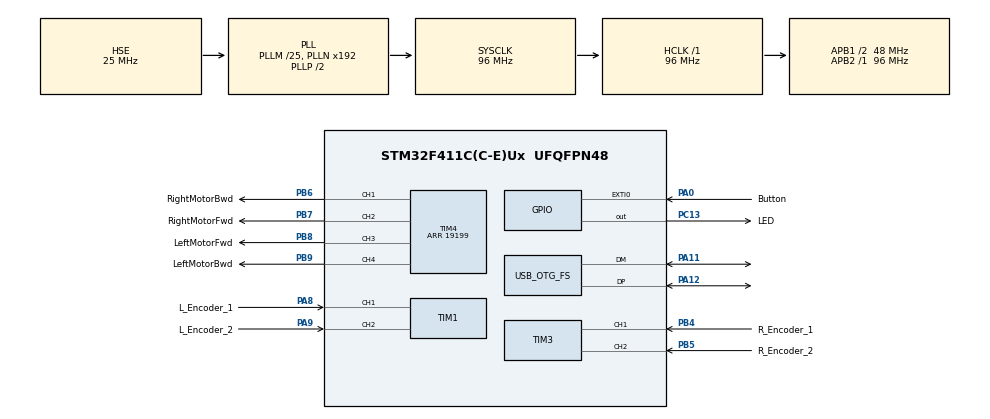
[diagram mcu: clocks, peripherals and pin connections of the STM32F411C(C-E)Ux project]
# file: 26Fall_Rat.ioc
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Mcu.Family=STM32F4
Mcu.Name=STM32F411C(C-E)Ux
Mcu.Package=UFQFPN48
NVIC.EXTI0_IRQn=true\:0\:0\:false\:false\:true\:true\:true\:true
NVIC.OTG_FS_IRQn=true\:0\:0\:false\:false\:true\:false\:true\:true
NVIC.PriorityGroup=NVIC_PRIORITYGROUP_4
NVIC.TIM4_IRQn=true\:0\:0\:false\:false\:true\:true\:true\:true
PA0-WKUP.GPIO_Label=Button
PA0-WKUP.GPIO_ModeDefaultEXTI=GPIO_MODE_IT_RISING_FALLING
PA0-WKUP.GPIO_PuPd=GPIO_PULLUP
PA0-WKUP.Signal=GPXTI0
PA11.Mode=Device_Only
PA11.Signal=USB_OTG_FS_DM
PA12.Mode=Device_Only
PA12.Signal=USB_OTG_FS_DP
PA8.GPIO_Label=L_Encoder_1
PA8.Signal=S_TIM1_CH1
PA9.GPIO_Label=L_Encoder_2
PA9.Signal=S_TIM1_CH2
PB4.GPIO_Label=R_Encoder_1
PB4.Signal=S_TIM3_CH1
PB5.GPIO_Label=R_Encoder_2
PB5.Signal=S_TIM3_CH2
PB6.GPIO_Label=RightMotorBwd
PB6.Signal=S_TIM4_CH1
PB7.GPIO_Label=RightMotorFwd
PB7.Signal=S_TIM4_CH2
PB8.GPIO_Label=LeftMotorFwd
PB8.Signal=S_TIM4_CH3
PB9.GPIO_Label=LeftMotorBwd
PB9.Signal=S_TIM4_CH4
PC13-ANTI_TAMP.GPIO_Label=LED
PC13-ANTI_TAMP.PinState=GPIO_PIN_SET
PC13-ANTI_TAMP.Signal=GPIO_Output
PH0\ -\ OSC_IN.Mode=HSE-External-Oscillator
PH0\ -\ OSC_IN.Signal=RCC_OSC_IN
PH1\ -\ OSC_OUT.Mode=HSE-External-Oscillator
PH1\ -\ OSC_OUT.Signal=RCC_OSC_OUT
ProjectManager.HeapSize=0x200
ProjectManager.StackSize=0x1000
ProjectManager.TargetToolchain=CMake
RCC.48MHZClocksFreq_Value=48000000
RCC.AHBFreq_Value=96000000
RCC.APB1CLKDivider=RCC_HCLK_DIV2
RCC.APB1Freq_Value=48000000
RCC.APB1TimFreq_Value=96000000
RCC.APB2Freq_Value=96000000
RCC.APB2TimFreq_Value=96000000
RCC.CortexFreq_Value=96000000
RCC.HCLKFreq_Value=96000000
RCC.HSE_VALUE=25000000
RCC.HSI_VALUE=16000000
RCC.LSE_VALUE=32768
RCC.PLLM=25
RCC.SYSCLKFreq_VALUE=96000000
RCC.SYSCLKSource=RCC_SYSCLKSOURCE_PLLCLK
RCC.VCOOutputFreq_Value=192000000
SH.S_TIM1_CH1.0=TIM1_CH1,Encoder_Interface
SH.S_TIM1_CH2.0=TIM1_CH2,Encoder_Interface
SH.S_TIM3_CH1.0=TIM3_CH1,Encoder_Interface
SH.S_TIM3_CH2.0=TIM3_CH2,Encoder_Interface
SH.S_TIM4_CH1.0=TIM4_CH1,PWM Generation1 CH1
SH.S_TIM4_CH2.0=TIM4_CH2,PWM Generation2 CH2
SH.S_TIM4_CH3.0=TIM4_CH3,PWM Generation3 CH3
SH.S_TIM4_CH4.0=TIM4_CH4,PWM Generation4 CH4
TIM1.EncoderMode=TIM_ENCODERMODE_TI12
TIM3.EncoderMode=TIM_ENCODERMODE_TI12
TIM4.Channel-PWM\ Generation1\ CH1=TIM_CHANNEL_1
TIM4.Channel-PWM\ Generation2\ CH2=TIM_CHANNEL_2
TIM4.Channel-PWM\ Generation3\ CH3=TIM_CHANNEL_3
TIM4.Channel-PWM\ Generation4\ CH4=TIM_CHANNEL_4
TIM4.Period=19199
USB_DEVICE.CLASS_NAME_FS=CDC
USB_DEVICE.VirtualMode=Cdc
USB_DEVICE.VirtualModeFS=Cdc_FS
USB_OTG_FS.VirtualMode=Device_Only
VP_USB_DEVICE_VS_USB_DEVICE_CDC_FS.Mode=CDC_FS
board=custom

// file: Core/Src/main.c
/* USER CODE BEGIN Header */
/**
  ******************************************************************************
  * @file           : main.c
  * @brief          : Main program body
  ******************************************************************************
  * @attention
  *
  * Copyright (c) 2026 STMicroelectronics.
  * All rights reserved.
  *
  * This software is licensed under terms that can be found in the LICENSE file
  * in the root directory of this software component

directory of this software component.
  * If no LICENSE file comes with this software, it is provided AS-IS.
  *
  ******************************************************************************
  */
/* USER CODE END Header */
#include "main.h"
#include "usb_device.h"

/* USER CODE BEGIN Includes */
#include "encoders.h"
#include <stdio.h>
#include "usbd_cdc_if.h"
#include "motors.h"
/* USER CODE END Includes */

TIM_HandleTypeDef htim1;
TIM_HandleTypeDef htim3;
TIM_HandleTypeDef htim4;

/* USER CODE BEGIN PV */

int16_t left_counts = 0;
int16_t right_counts = 0;
__attribute__((section(".noinit"))) uint32_t dfu_boot_flag;
#define DFU_MAGIC_KEY 0x12345678
volatile int button_held = 0;
volatile uint32_t press_time = 0;

/* USER CODE END PV */

void SystemClock_Config(void);
static void MX_GPIO_Init(void);
static void MX_TIM1_Init(void);
static void MX_TIM3_Init(void);
static void MX_TIM4_Init(void);

int main(void)
{

  /* USER CODE BEGIN 1 */

	if (dfu_boot_flag == DFU_MAGIC_KEY) {
    dfu_boot_flag = 0;
    void (*SysMemBootJump)(void) = (void (*)(void))(*((uint32_t *)0x1FFF0004));
    __set_MSP(*((uint32_t *)0x1FFF0000));
    SysMemBootJump();
    while (1);
}

  /* USER CODE END 1 */

  /* MCU Configuration--------------------------------------------------------*/

  /* Reset of all peripherals, Initializes the Flash interface and the Systick. */
  HAL_Init();

  /* Configure the system clock */
  SystemClock_Config();

  /* Initialize all configured peripherals */
  MX_GPIO_Init();
  MX_USB_DEVICE_Init();
  MX_TIM1_Init();
  MX_TIM3_Init();
  MX_TIM4_Init();
  /* USER CODE BEGIN 2 */
HAL_TIM_Encoder_Start(&htim1, TIM_CHANNEL_ALL);
HAL_TIM_Encoder_Start(&htim3, TIM_CHANNEL_ALL);
resetEncoders();
HAL_TIM_PWM_Start(&htim4, TIM_CHANNEL_1);
HAL_TIM_PWM_Start(&htim4, TIM_CHANNEL_2);
HAL_TIM_PWM_Start(&htim4, TIM_CHANNEL_3);
HAL_TIM_PWM_Start(&htim4, TIM_CHANNEL_4);
resetMotors();
/*motor flashing
*/
uint32_t demo_start = HAL_GetTick();
int demo_state = 0;

  /* USER CODE END 2 */

  /* Infinite loop */
  while (1)
  {

    /* USER CODE BEGIN 3 */
uint32_t elapsed = HAL_GetTick() - demo_start; //Gets current tick, subtracts from start tick ie giving time elapsed since flash

if (demo_state == 0 && elapsed >= 5000U){ //Counts from start time to 5 seconds elapsed
setMotorLPWM(0.3f);   // Left forward at 30% PWM
setMotorRPWM(-0.5f);  // Right backward at 50% PWM
demo_state = 1;
}

if (demo_state == 1 && elapsed >= 9000U  ) { // Stops motors after running for 4 seconds
    resetMotors();
    demo_state = 2;
}
  left_counts = getLeftEncoderCounts();
  right_counts = getRightEncoderCounts();
 if (button_held && (HAL_GetTick() - press_time >= 1000U)) {
    // Blink three times before entering DFU.
    for (int i = 0; i < 6; i++) {
        HAL_GPIO_TogglePin(LED_GPIO_Port, LED_Pin);
        HAL_Delay(100);
    }

    dfu_boot_flag = DFU_MAGIC_KEY;
    HAL_NVIC_SystemReset();
    }
  static uint32_t last_tx = 0;
  char buf[512];
  if (HAL_GetTick() - last_tx >= 50) {
    last_tx = HAL_GetTick();
    int n = snprintf(buf, sizeof(buf), ">left:%d\n>right:%d\n",
                     left_counts, right_counts);
    CDC_Transmit_FS((uint8_t *) buf, (uint16_t) n);
  }
  }

  /* USER CODE END 3 */
}

void SystemClock_Config(void)
{
  RCC_OscInitTypeDef RCC_OscInitStruct = {0};
  RCC_ClkInitTypeDef RCC_ClkInitStruct = {0};

  /** Configure the main internal regulator output voltage
  */
  __HAL_RCC_PWR_CLK_ENABLE();
  __HAL_PWR_VOLTAGESCALING_CONFIG(PWR_REGULATOR_VOLTAGE_SCALE1);

  /** Initializes the RCC Oscillators according to the specified parameters
  * in the RCC_OscInitTypeDef structure.
  */
  RCC_OscInitStruct.OscillatorType = RCC_OSCILLATORTYPE_HSE;
  RCC_OscInitStruct.HSEState = RCC_HSE_ON;
  RCC_OscInitStruct.PLL.PLLState = RCC_PLL_ON;
  RCC_OscInitStruct.PLL.PLLSource = RCC_PLLSOURCE_HSE;
  RCC_OscInitStruct.PLL.PLLM = 25;
  RCC_OscInitStruct.PLL.PLLN = 192;
  RCC_OscInitStruct.PLL.PLLP = RCC_PLLP_DIV2;
  RCC_OscInitStruct.PLL.PLLQ = 4;
  if (HAL_RCC_OscConfig(&RCC_OscInitStruct) != HAL_OK)
  {
    Error_Handler();
  }

  /** Initializes the CPU, AHB and APB buses clocks
  */
  RCC_ClkInitStruct.ClockType = RCC_CLOCKTYPE_HCLK|RCC_CLOCKTYPE_SYSCLK
                              |RCC_CLOCKTYPE_PCLK1|RCC_CLOCKTYPE_PCLK2;
  RCC_ClkInitStruct.SYSCLKSource = RCC_SYSCLKSOURCE_PLLCLK;
  RCC_ClkInitStruct.AHBCLKDivider = RCC_SYSCLK_DIV1;
  RCC_ClkInitStruct.APB1CLKDivider = RCC_HCLK_DIV2;
  RCC_ClkInitStruct.APB2CLKDivider = RCC_HCLK_DIV1;

  if (HAL_RCC_ClockConfig(&RCC_ClkInitStruct, FLASH_LATENCY_3) != HAL_OK)
  {
    Error_Handler();
  }
}

static void MX_TIM1_Init(void)
{

  TIM_Encoder_InitTypeDef sConfig = {0};
  TIM_MasterConfigTypeDef sMasterConfig = {0};

  htim1.Instance = TIM1;
  htim1.Init.Prescaler = 0;
  htim1.Init.CounterMode = TIM_COUNTERMODE_UP;
  htim1.Init.Period = 65535;
  htim1.Init.ClockDivision = TIM_CLOCKDIVISION_DIV1;
  htim1.Init.RepetitionCounter = 0;
  htim1.Init.AutoReloadPreload = TIM_AUTORELOAD_PRELOAD_DISABLE;
  sConfig.EncoderMode = TIM_ENCODERMODE_TI12;
  sConfig.IC1Polarity = TIM_ICPOLARITY_RISING;
  sConfig.IC1Selection = TIM_ICSELECTION_DIRECTTI;
  sConfig.IC1Prescaler = TIM_ICPSC_DIV1;
  sConfig.IC1Filter = 0;
  sConfig.IC2Polarity = TIM_ICPOLARITY_RISING;
  sConfig.IC2Selection = TIM_ICSELECTION_DIRECTTI;
  sConfig.IC2Prescaler = TIM_ICPSC_DIV1;
  sConfig.IC2Filter = 0;
  if (HAL_TIM_Encoder_Init(&htim1, &sConfig) != HAL_OK)
  {
    Error_Handler();
  }
  sMasterConfig.MasterOutputTrigger = TIM_TRGO_RESET;
  sMasterConfig.MasterSlaveMode = TIM_MASTERSLAVEMODE_DISABLE;
  if (HAL_TIMEx_MasterConfigSynchronization(&htim1, &sMasterConfig) != HAL_OK)
  {
    Error_Handler();
  }

}

static void MX_TIM3_Init(void)
{

  TIM_Encoder_InitTypeDef sConfig = {0};
  TIM_MasterConfigTypeDef sMasterConfig = {0};

  htim3.Instance = TIM3;
  htim3.Init.Prescaler = 0;
  htim3.Init.CounterMode = TIM_COUNTERMODE_UP;
  htim3.Init.Period = 65535;
  htim3.Init.ClockDivision = TIM_CLOCKDIVISION_DIV1;
  htim3.Init.AutoReloadPreload = TIM_AUTORELOAD_PRELOAD_DISABLE;
  sConfig.EncoderMode = TIM_ENCODERMODE_TI12;
  sConfig.IC1Polarity = TIM_ICPOLARITY_RISING;
  sConfig.IC1Selection = TIM_ICSELECTION_DIRECTTI;
  sConfig.IC1Prescaler = TIM_ICPSC_DIV1;
  sConfig.IC1Filter = 0;
  sConfig.IC2Polarity = TIM_ICPOLARITY_RISING;
  sConfig.IC2Selection = TIM_ICSELECTION_DIRECTTI;
  sConfig.IC2Prescaler = TIM_ICPSC_DIV1;
  sConfig.IC2Filter = 0;
  if (HAL_TIM_Encoder_Init(&htim3, &sConfig) != HAL_OK)
  {
    Error_Handler();
  }
  sMasterConfig.MasterOutputTrigger = TIM_TRGO_RESET;
  sMasterConfig.MasterSlaveMode = TIM_MASTERSLAVEMODE_DISABLE;
  if (HAL_TIMEx_MasterConfigSynchronization(&htim3, &sMasterConfig) != HAL_OK)
  {
    Error_Handler();
  }

}

static void MX_TIM4_Init(void)
{

  TIM_MasterConfigTypeDef sMasterConfig = {0};
  TIM_OC_InitTypeDef sConfigOC = {0};

  htim4.Instance = TIM4;
  htim4.Init.Prescaler = 0;
  htim4.Init.CounterMode = TIM_COUNTERMODE_UP;
  htim4.Init.Period = 19199;
  htim4.Init.ClockDivision = TIM_CLOCKDIVISION_DIV1;
  htim4.Init.AutoReloadPreload = TIM_AUTORELOAD_PRELOAD_DISABLE;
  if (HAL_TIM_PWM_Init(&htim4) != HAL_OK)
  {
    Error_Handler();
  }
  sMasterConfig.MasterOutputTrigger = TIM_TRGO_RESET;
  sMasterConfig.MasterSlaveMode = TIM_MASTERSLAVEMODE_DISABLE;
  if (HAL_TIMEx_MasterConfigSynchronization(&htim4, &sMasterConfig) != HAL_OK)
  {
    Error_Handler();
  }
  sConfigOC.OCMode = TIM_OCMODE_PWM1;
  sConfigOC.Pulse = 0;
  sConfigOC.OCPolarity = TIM_OCPOLARITY_HIGH;
  sConfigOC.OCFastMode = TIM_OCFAST_DISABLE;
  if (HAL_TIM_PWM_ConfigChannel(&htim4, &sConfigOC, TIM_CHANNEL_1) != HAL_OK)
  {
    Error_Handler();
  }
  if (HAL_TIM_PWM_ConfigChannel(&htim4, &sConfigOC, TIM_CHANNEL_2) != HAL_OK)
  {
    Error_Handler();
  }
  if (HAL_TIM_PWM_ConfigChannel(&htim4, &sConfigOC, TIM_CHANNEL_3) != HAL_OK)
  {
    Error_Handler();
  }
  if (HAL_TIM_PWM_ConfigChannel(&htim4, &sConfigOC, TIM_CHANNEL_4) != HAL_OK)
  {
    Error_Handler();
  }
  HAL_TIM_MspPostInit(&htim4);

}

static void MX_GPIO_Init(void)
{
  GPIO_InitTypeDef GPIO_InitStruct = {0};

  /* GPIO Ports Clock Enable */
  __HAL_RCC_GPIOC_CLK_ENABLE();
  __HAL_RCC_GPIOH_CLK_ENABLE();
  __HAL_RCC_GPIOA_CLK_ENABLE();
  __HAL_RCC_GPIOB_CLK_ENABLE();

  /*Configure GPIO pin Output Level */
  HAL_GPIO_WritePin(LED_GPIO_Port, LED_Pin, GPIO_PIN_SET);

  /*Configure GPIO pin : LED_Pin */
  GPIO_InitStruct.Pin = LED_Pin;
  GPIO_InitStruct.Mode = GPIO_MODE_OUTPUT_PP;
  GPIO_InitStruct.Pull = GPIO_NOPULL;
  GPIO_InitStruct.Speed = GPIO_SPEED_FREQ_LOW;
  HAL_GPIO_Init(LED_GPIO_Port, &GPIO_InitStruct);

  /*Configure GPIO pin : Button_Pin */
  GPIO_InitStruct.Pin = Button_Pin;
  GPIO_InitStruct.Mode = GPIO_MODE_IT_RISING_FALLING;
  GPIO_InitStruct.Pull = GPIO_PULLUP;
  HAL_GPIO_Init(Button_GPIO_Port, &GPIO_InitStruct);

  /* EXTI interrupt init*/
  HAL_NVIC_SetPriority(EXTI0_IRQn, 0, 0);
  HAL_NVIC_EnableIRQ(EXTI0_IRQn);

}

/* USER CODE BEGIN 4 */
void HAL_GPIO_EXTI_Callback(uint16_t GPIO_PIN)
{
    if (GPIO_PIN == Button_Pin) {
        GPIO_PinState state =
            HAL_GPIO_ReadPin(Button_GPIO_Port, Button_Pin);

        if (state == GPIO_PIN_RESET) {
            // Button pressed: LED on, start timing.
            HAL_GPIO_WritePin(LED_GPIO_Port, LED_Pin, GPIO_PIN_RESET);

            if (!button_held) {
                press_time = HAL_GetTick();
                button_held = 1;
            }
        } else {
            // Button released: LED off, cancel timing.
            HAL_GPIO_WritePin(LED_GPIO_Port, LED_Pin, GPIO_PIN_SET);
            button_held = 0;
        }
    }
}
/* USER CODE END 4 */

void Error_Handler(void)
{
  __disable_irq();
  while (1)
  {
  }
}
